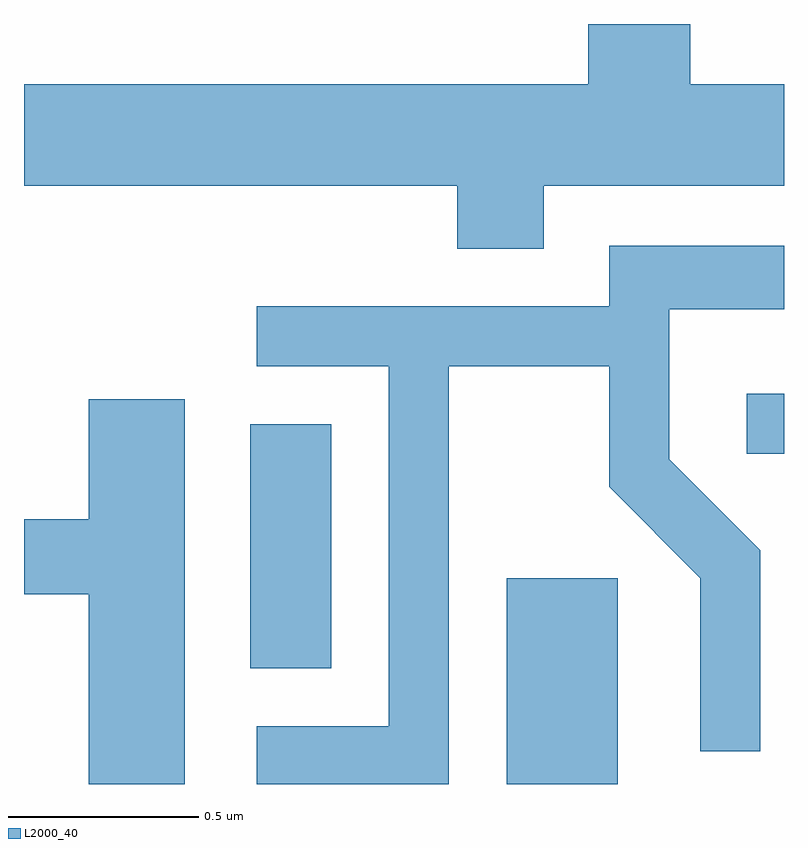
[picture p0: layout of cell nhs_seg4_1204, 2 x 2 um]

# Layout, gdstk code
import gdstk
lib = gdstk.Library(unit=1e-6, precision=1e-09)
def R(c, l, rs):  # rectangles x0, y0, x1, y1
    for r in rs: c.add(gdstk.rectangle(r[:2], r[2:], *l))
def P(c, l, *ps):  # polygons
    for p in ps: c.add(gdstk.Polygon(p, *l))
L2000_40 = (2000, 40)

nhs_seg4_1204 = lib.new_cell('nhs_seg4_1204')
R(nhs_seg4_1204, L2000_40, [(194.881,1361.982,195.174,1362.524), (194.206,1362.286,194.419,1362.929), (195.513,1362.851,195.611,1363.009)])
P(nhs_seg4_1204, L2000_40, [(194.979,1363.556),(195.611,1363.556),(195.611,1363.824),(195.364,1363.824),(195.364,1363.982),(195.096,1363.982),(195.096,1363.824),(193.611,1363.824),(193.611,1363.556),(194.751,1363.556),(194.751,1363.391),(194.979,1363.391)],
  [(194.729,1363.081),(195.151,1363.081),(195.151,1362.764),(195.391,1362.524),(195.391,1362.068),(195.549,1362.068),(195.549,1362.597),(195.309,1362.837),(195.309,1363.231),(195.611,1363.231),(195.611,1363.399),(195.151,1363.399),(195.151,1363.239),(194.223,1363.239),(194.223,1363.081),(194.571,1363.081),(194.571,1362.134),(194.223,1362.134),(194.223,1361.982),(194.729,1361.982)],
  [(194.034,1362.994),(193.781,1362.994),(193.781,1362.679),(193.611,1362.679),(193.611,1362.481),(193.781,1362.481),(193.781,1361.982),(194.034,1361.982)])

lib.write_gds('nhs_seg4_1204.gds')
